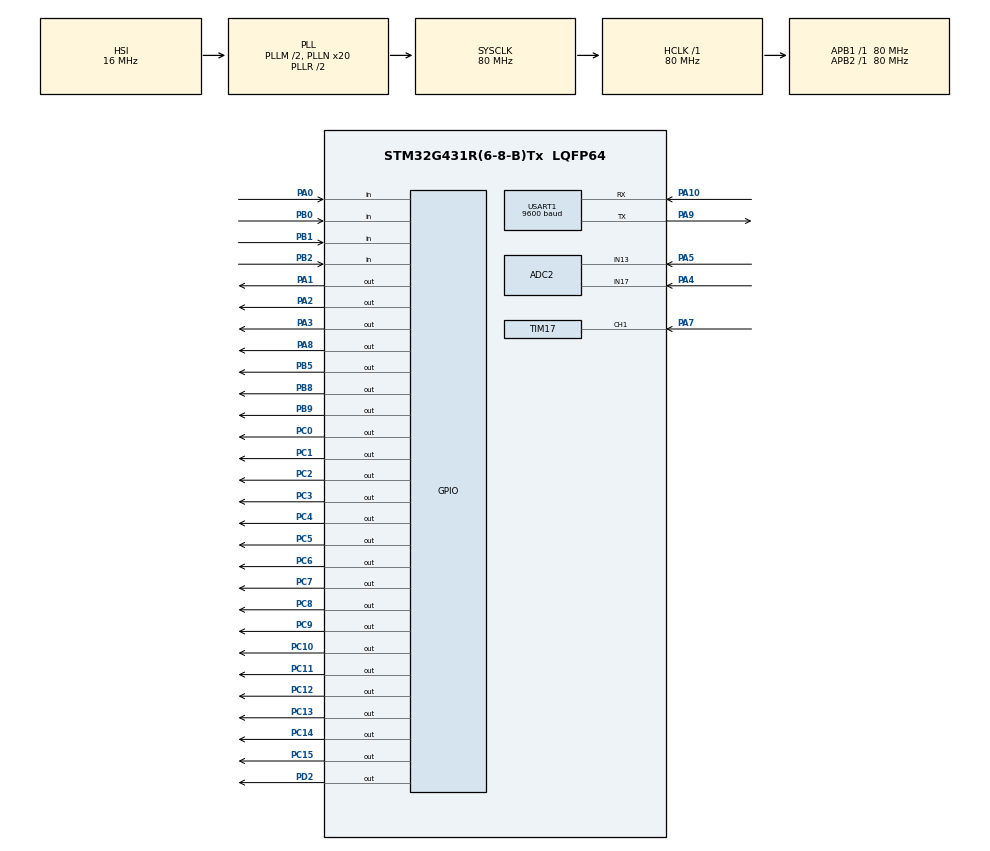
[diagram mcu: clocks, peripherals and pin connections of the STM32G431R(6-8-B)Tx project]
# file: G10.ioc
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ADC2.Channel-0\#ChannelRegularConversion=ADC_CHANNEL_17
ADC2.Channel-1\#ChannelRegularConversion=ADC_CHANNEL_13
ADC2.NbrOfConversion=2
ADC2.NbrOfConversionFlag=1
ADC2.OffsetNumber-0\#ChannelRegularConversion=ADC_OFFSET_NONE
ADC2.OffsetNumber-1\#ChannelRegularConversion=ADC_OFFSET_NONE
ADC2.Rank-0\#ChannelRegularConversion=1
ADC2.Rank-1\#ChannelRegularConversion=2
ADC2.SamplingTime-0\#ChannelRegularConversion=ADC_SAMPLETIME_640CYCLES_5
ADC2.SamplingTime-1\#ChannelRegularConversion=ADC_SAMPLETIME_640CYCLES_5
Mcu.Family=STM32G4
Mcu.Name=STM32G431R(6-8-B)Tx
Mcu.Package=LQFP64
NVIC.PriorityGroup=NVIC_PRIORITYGROUP_4
NVIC.TIM1_BRK_TIM15_IRQn=true\:0\:0\:false\:false\:true\:true\:true\:true
NVIC.TIM1_TRG_COM_TIM17_IRQn=true\:0\:0\:false\:false\:true\:true\:true\:true
NVIC.USART1_IRQn=true\:0\:0\:false\:false\:true\:true\:true\:true
PA0.Signal=GPIO_Input
PA1.Signal=GPIO_Output
PA10.Mode=Asynchronous
PA10.Signal=USART1_RX
PA2.Signal=GPIO_Output
PA3.Signal=GPIO_Output
PA4.Mode=IN17-Single-Ended
PA4.Signal=ADC2_IN17
PA5.Mode=IN13-Single-Ended
PA5.Signal=ADC2_IN13
PA7.Signal=S_TIM17_CH1
PA8.Signal=GPIO_Output
PA9.Mode=Asynchronous
PA9.Signal=USART1_TX
PB0.Signal=GPIO_Input
PB1.Signal=GPIO_Input
PB2.Signal=GPIO_Input
PB5.Signal=GPIO_Output
PB8-BOOT0.Signal=GPIO_Output
PB9.Signal=GPIO_Output
PC0.Signal=GPIO_Output
PC1.Signal=GPIO_Output
PC10.Signal=GPIO_Output
PC11.Signal=GPIO_Output
PC12.Signal=GPIO_Output
PC13.Signal=GPIO_Output
PC14-OSC32_IN.Signal=GPIO_Output
PC15-OSC32_OUT.Signal=GPIO_Output
PC2.Signal=GPIO_Output
PC3.Signal=GPIO_Output
PC4.Signal=GPIO_Output
PC5.Signal=GPIO_Output
PC6.Signal=GPIO_Output
PC7.Signal=GPIO_Output
PC8.Signal=GPIO_Output
PC9.Signal=GPIO_Output
PD2.Signal=GPIO_Output
PF0-OSC_IN.Mode=HSE-External-Oscillator
PF0-OSC_IN.Signal=RCC_OSC_IN
PF1-OSC_OUT.Mode=HSE-External-Oscillator
PF1-OSC_OUT.Signal=RCC_OSC_OUT
ProjectManager.HeapSize=0x200
ProjectManager.StackSize=0x400
ProjectManager.TargetToolchain=MDK-ARM V5
RCC.ADC12Freq_Value=80000000
RCC.AHBFreq_Value=80000000
RCC.APB1Freq_Value=80000000
RCC.APB1TimFreq_Value=80000000
RCC.APB2Freq_Value=80000000
RCC.APB2TimFreq_Value=80000000
RCC.CortexFreq_Value=80000000
RCC.EXTERNAL_CLOCK_VALUE=12288000
RCC.HCLKFreq_Value=80000000
RCC.HSE_VALUE=24000000
RCC.HSI48_VALUE=48000000
RCC.HSI_VALUE=16000000
RCC.LSE_VALUE=32768
RCC.PLLM=RCC_PLLM_DIV2
RCC.PLLN=20
RCC.SYSCLKFreq_VALUE=80000000
RCC.SYSCLKSource=RCC_SYSCLKSOURCE_PLLCLK
RCC.USBFreq_Value=80000000
RCC.VCOOutputFreq_Value=160000000
SH.S_TIM17_CH1.0=TIM17_CH1,Input_Capture1_from_TI1
TIM15.AutoReloadPreload=TIM_AUTORELOAD_PRELOAD_ENABLE
TIM15.PeriodNoDither=999
TIM15.Prescaler=7999
TIM17.Channel=TIM_CHANNEL_1
TIM17.PeriodNoDither=0xffff
TIM17.Prescaler=79
USART1.BaudRate=9600
USART1.VirtualMode-Asynchronous=VM_ASYNC
VP_SYS_VS_DBSignals.Mode=DisableDeadBatterySignals
VP_TIM15_VS_ClockSourceINT.Mode=Internal
VP_TIM17_VS_ClockSourceINT.Mode=Enable_Timer
board=custom

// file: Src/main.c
/* USER CODE BEGIN Header */
/**
  ******************************************************************************
  * @file           : main.c
  * @brief          : Main program body
  ******************************************************************************
  * @attention
  *
  * <h2><center>&copy; Copyright (c) 2021 STMicroelectronics.
  * All rights reserved.</center></h2>
  *
  * This software component is licensed by ST under BSD 3-Clause license,
  * the "License"; You may not use this file except in compliance with the
  * License. You may obtain a copy of the License at:
  *                        opensource.org/licenses/BSD-3-Clause
  *
  ******************************************************************************
  */
/* USER CODE END Header */

#include "main.h"
#include "adc.h"
#include "tim.h"
#include "usart.h"
#include "gpio.h"

/* USER CODE BEGIN Includes */
#include "led.h"
#include "key.h"
#include "stdio.h"
#include "string.h"
#include "seg.h"
#include "ds18b20_hal.h"

/* USER CODE END Includes */

void SystemClock_Config(void);

/* USER CODE BEGIN 0 */

#define Display_Main 0
#define Display_Para 1

u8 display_mode = 0;

//1

u16 N;//最大65535

//2

u8 T = 5;
u8 X = 1;// AO1

u8 T_temp = 5;
u8 X_temp = 1;
_Bool change = 0;

//LED
u8 led_ctrl = 0x00;

void Led_Proc(void)
{
	Led_Control(led_ctrl);//切记以后只操作led_ctrl即可
}

//KEY

uint32_t longTick3 = 0;
uint32_t longTick4 = 0;

uint32_t keyTick = 0;
void Key_Proc(void)
{
	if(uwTick - keyTick < 20) return;
	keyTick = uwTick;

	Key_Read();

	if(Trg & 0x01)
	{
		LCD_Clear(Black);
		display_mode = (display_mode + 1)%2;

		if(display_mode == Display_Main)
		{
			if(X == X_temp && T == T_temp)
			{

			}
			else
			{
				N++;
				X_temp = X;
				T_temp = T;
			}
		}

		if(display_mode == Display_Para)
		{
			X = X_temp;
			T = T_temp;
		}
	}

	if(Trg & 0x02)
	{
		if(display_mode == Display_Para)
		{
			change = !change;
		}
	}

	if(display_mode == Display_Para)
	{
		if(change == 0)
		{
			if(Trg & 0x04)
			{
				longTick3 = uwTick;
			}
			else if(Cont & 0x04 && uwTick - longTick3 > 1000)
			{
				T++;
				if(T >= 41)
					T = 40;

			}
			else if(Up & 0x04 && uwTick - longTick3 < 1000)
			{
				T++;
				if(T >= 41)
					T = 40;
			}
		}
		else
		{
			if(Trg & 0x04)
			{
				X = X%2 + 1;
			}
		}
	}

	if(display_mode == Display_Para)
	{
		if(change == 0)
		{
			if(Trg & 0x08)
			{
				longTick4 = uwTick;
			}
			else if(Cont & 0x08 && uwTick - longTick4 > 1000) //这里假设0-40,先判断
			{
				if(T > 0)
					T--;

			}
			else if(Up & 0x08 && uwTick - longTick4 < 1000)
			{
				if(T > 0)
					T--;
			}
		}
		else
		{
			if(Trg & 0x08)
			{
				X = X%2 + 1;
			}
		}
	}
}

//ADC---以后可以放在LCD函数里，每100ms读取一次

u32 adc_val1,adc_val2;
double AO1,AO2;

void ADC_Proc(void)
{
	HAL_ADC_Start(&hadc2);
	adc_val1 = HAL_ADC_GetValue(&hadc2);
	AO1 = adc_val1/4095.0*3.3;

	HAL_ADC_Start(&hadc2);
	adc_val2 = HAL_ADC_GetValue(&hadc2);
	AO2 = adc_val2/4095.0*3.3;
}

//PWM

uint32_t uwIC2Value1 = 0;
uint32_t uwIC2Value2 = 0;
uint32_t uwDiffCapture = 0;
uint32_t low,high;
/* Capture index */
uint16_t uhCaptureIndex = 0;

/* Frequency Value */
uint32_t uwFrequency = 0;
uint32_t F;
double D;

void HAL_TIM_IC_CaptureCallback(TIM_HandleTypeDef *htim)
{
	if(htim == &htim17)
	{
	 if (htim->Channel == HAL_TIM_ACTIVE_CHANNEL_1)
		{
			if(uhCaptureIndex == 0)
			{
				/* Get the 1st Input Capture value */
				uwIC2Value1 = HAL_TIM_ReadCapturedValue(htim, TIM_CHANNEL_1);
				__HAL_TIM_SET_CAPTUREPOLARITY(&htim17,TIM_CHANNEL_1,TIM_INPUTCHANNELPOLARITY_FALLING);
				uhCaptureIndex = 1;
			}
			else if(uhCaptureIndex == 1)
			{
				/* Get the 2nd Input Capture value */
				uwIC2Value2 = HAL_TIM_ReadCapturedValue(htim, TIM_CHANNEL_1);
				__HAL_TIM_SET_CAPTUREPOLARITY(&htim17,TIM_CHANNEL_1,TIM_INPUTCHANNELPOLARITY_RISING);
				/* Capture computation */
				if (uwIC2Value2 > uwIC2Value1)
				{
					high = (uwIC2Value2 - uwIC2Value1);
				}
				else if (uwIC2Value2 < uwIC2Value1)
				{
					/* 0xFFFF is max TIM1_CCRx value */
					high = ((0xFFFF - uwIC2Value1) + uwIC2Value2) + 1;
				}
				else
				{
					/* If capture values are equal, we have reached the limit of frequency
						 measures */
					Error_Handler();
				}

				/* Frequency computation: for this example TIMx (TIM1) is clocked by
					 APB2Clk */
			uhCaptureIndex = 2;
			uwIC2Value1 = uwIC2Value2;

			}
			else if(uhCaptureIndex == 2)
			{
				/* Get the 2nd Input Capture value */
				uwIC2Value2 = HAL_TIM_ReadCapturedValue(htim, TIM_CHANNEL_1);
				/* Capture computation */
				if (uwIC2Value2 > uwIC2Value1)
				{
					low = (uwIC2Value2 - uwIC2Value1);
				}
				else if (uwIC2Value2 < uwIC2Value1)
				{
					/* 0xFFFF is max TIM1_CCRx value */
					low = ((0xFFFF - uwIC2Value1) + uwIC2Value2) + 1;
				}
				else
				{
					/* If capture values are equal, we have reached the limit of frequency
						 measures */
					Error_Handler();
				}

				/* Frequency computation: for this example TIMx (TIM1) is clocked by
					 APB2Clk */
				uhCaptureIndex = 0;
				F = 1e6/(high + low);
				D = high*1.0/(high+low);

			}
		}
	}

}

//SEG--就这样定了，因为可以操控小数点和其他数
uint32_t segTick = 0;
_Bool seg_flag = 0;
u8 seg_cnt = 0;
void SEG_Proc(void)
{
	//交替显示
	if(uwTick - segTick < 100) return; //这里两秒刷新一次值太慢
	segTick = uwTick;

	if(seg_flag == 0)
	{
		seg_buf[0] = 0x39;  //0x00为熄灭
		seg_buf[1] = t_display[T/10];
		seg_buf[2] = t_display[T%10];
	}

	else
	{
		seg_buf[0] = 0x77;
		seg_buf[1] = 0x5C;
		seg_buf[2] = t_display[X];
	}

	if(++seg_cnt >= 20)
	{
		seg_flag = !seg_flag;
		seg_cnt = 0;
	}

	Display();

}

//DS18B20 -- 温度间隔500ms读取一次//以后这个就是温度专用函数，温度放在定时器里
//放在TIM15或systick里
double T_C;
void DS18B20_Proc(void)
{
	static u8 cnt_temp;
	if(++cnt_temp >= 5)
	{
		T_C = DS18B20_Read();
		cnt_temp = 0;
	}
}

//UART
//发

int fputc(int ch, FILE *f)
{
  /* Your implementation of fputc(). */
	HAL_UART_Transmit(&huart1,(u8 *)&ch,1,50);
  return ch;
}

//收
u8 uart_buf[2];
u8 rx_buf[100];
u8 rx_cnt = 0;

uint32_t uartTick = 0;

void Rx_Idle(void)
{
	if(uwTick - uartTick < 50) return;
	uartTick = uwTick;

	if(rx_cnt>0)
	{
		rx_cnt = 0;
		memset(rx_buf,'\0',sizeof(rx_buf));
	}
}

void HAL_UART_RxCpltCallback(UART_HandleTypeDef *huart)
{
	uartTick = uwTick;
  HAL_UART_Receive_IT(&huart1,uart_buf,1);

	rx_buf[rx_cnt++] = uart_buf[0];

	if(uart_buf[0] == '\n')
	{
		printf("%s",rx_buf);
	}
}

//LCD
uint32_t lcdTick = 0;

void LCD_Proc(void)
{
	if(uwTick - lcdTick < 100)return;
	lcdTick = uwTick;

	ADC_Proc();

	u8 display_buf[30];

	if(display_mode == Display_Main)
	{
		sprintf((char *)display_buf,"       Main ");
		LCD_DisplayStringLine(Line1,display_buf);

		sprintf((char *)display_buf,"   A01:%4.2fV",AO1);
		LCD_DisplayStringLine(Line2,display_buf);

		sprintf((char *)display_buf,"   AO2:%4.2fV",AO2);
		LCD_DisplayStringLine(Line3,display_buf);

		sprintf((char *)display_buf,"   PWM2:%2.0f%%  ",D*100);
		LCD_DisplayStringLine(Line4,display_buf);

		sprintf((char *)display_buf,"   Temp:%5.2fC",T_C);
		LCD_DisplayStringLine(Line5,display_buf);

		sprintf((char *)display_buf,"   N:%d",N);
		LCD_DisplayStringLine(Line6,display_buf);

	}

	if(display_mode == Display_Para)
	{
		sprintf((char *)display_buf,"       Para ");
		LCD_DisplayStringLine(Line1,display_buf);

		sprintf((char *)display_buf,"   T:%-2d               ",T);
		if(change == 0)
			LCD_SetBackColor(Green);
		LCD_DisplayStringLine(Line2,display_buf);
	  LCD_SetBackColor(Black);

		if(change == 1)
			LCD_SetBackColor(Green);
		sprintf((char *)display_buf,"   X:AO%d               ",X);
		LCD_DisplayStringLine(Line3,display_buf);
	 	LCD_SetBackColor(Black);

	}

}

//void SysTick_Handler(void)
//{
//  /* USER CODE BEGIN SysTick_IRQn 0 */

//  /* USER CODE END SysTick_IRQn 0 */
//  HAL_IncTick();
//  /* USER CODE BEGIN SysTick_IRQn 1 */

//	//DS18B20_Proc();
//  /* USER CODE END SysTick_IRQn 1 */
//}

//TIM15
//uint32_t cnt;
void HAL_TIM_PeriodElapsedCallback(TIM_HandleTypeDef *htim)
{
	if(htim == &htim15)
	{
//		if(++cnt >= 2)
//		{
//			cnt = 0;
//			led_ctrl^=0x01;
//		}
		DS18B20_Proc();
	}
}

/* USER CODE END 0 */

int main(void)
{

  /* MCU Configuration--------------------------------------------------------*/

  /* Reset of all peripherals, Initializes the Flash interface and the Systick. */
  HAL_Init();

  /* Configure the system clock */
  SystemClock_Config();

  /* Initialize all configured peripherals */
  MX_GPIO_Init();
  MX_ADC2_Init();
  MX_TIM17_Init();
  MX_USART1_UART_Init();
  MX_TIM15_Init();
  /* USER CODE BEGIN 2 */

    LCD_Init();

		//capture
		HAL_TIM_IC_Start_IT(&htim17,TIM_CHANNEL_1);

		//DS18B20
		ds18b20_init_x();
		while(DS18B20_Read() >= 85) {};

		//TIM15
		HAL_TIM_Base_Start_IT(&htim15);

		//UART
			HAL_UART_Receive_IT(&huart1,uart_buf,1);

  /* USER CODE END 2 */

  /* Infinite loop */
  /* USER CODE BEGIN WHILE */

    LCD_Clear(Black);
    LCD_SetBackColor(Black);
    LCD_SetTextColor(White);

//    LCD_DrawLine(120, 0, 320, Horizontal);
//    LCD_DrawLine(0, 160, 240, Vertical);
//    HAL_Delay(1000);
//    LCD_Clear(Blue);

//    LCD_DrawRect(70, 210, 100, 100);
//    HAL_Delay(1000);
//    LCD_Clear(Blue);

//    LCD_DrawCircle(120, 160, 50);
//    HAL_Delay(1000);

//    LCD_Clear(Blue);
//    LCD_DisplayStringLine(Line4, (unsigned char *)"    Hello,world.   ");
//    HAL_Delay(1000);

//    LCD_SetBackColor(White);
//    LCD_DisplayStringLine(Line0, (unsigned char *)"                    ");
//    LCD_SetBackColor(Black);
//    LCD_DisplayStringLine(Line1, (unsigned char *)"                    ");
//    LCD_SetBackColor(Grey);
//    LCD_DisplayStringLine(Line2, (unsigned char *)"                    ");
//    LCD_SetBackColor(Blue);
//    LCD_DisplayStringLine(Line3, (unsigned char *)"                    ");
//    LCD_SetBackColor(Blue2);
//    LCD_DisplayStringLine(Line4, (unsigned char *)"                    ");
//    LCD_SetBackColor(Red);
//    LCD_DisplayStringLine(Line5, (unsigned char *)"                    ");
//    LCD_SetBackColor(Magenta);
//    LCD_DisplayStringLine(Line6, (unsigned char *)"                    ");
//    LCD_SetBackColor(Green);
//    LCD_DisplayStringLine(Line7, (unsigned char *)"                    ");
//    LCD_SetBackColor(Cyan);
//    LCD_DisplayStringLine(Line8, (unsigned char *)"                    ");
//    LCD_SetBackColor(Yellow);
//    LCD_DisplayStringLine(Line9, (unsigned char *)"                    ");

		Led_Control(0x00);
		printf("哈喽\r\n");
    while (1)
    {
    /* USER CODE END WHILE */

    /* USER CODE BEGIN 3 */
			Key_Proc();
			LCD_Proc();
			SEG_Proc();
			Led_Proc();
			Rx_Idle();

    }
  /* USER CODE END 3 */
}

void SystemClock_Config(void)
{
  RCC_OscInitTypeDef RCC_OscInitStruct = {0};
  RCC_ClkInitTypeDef RCC_ClkInitStruct = {0};
  RCC_PeriphCLKInitTypeDef PeriphClkInit = {0};

  /** Configure the main internal regulator output voltage
  */
  HAL_PWREx_ControlVoltageScaling(PWR_REGULATOR_VOLTAGE_SCALE1);
  /** Initializes the CPU, AHB and APB busses clocks
  */
  RCC_OscInitStruct.OscillatorType = RCC_OSCILLATORTYPE_HSI;
  RCC_OscInitStruct.HSIState = RCC_HSI_ON;
  RCC_OscInitStruct.HSICalibrationValue = RCC_HSICALIBRATION_DEFAULT;
  RCC_OscInitStruct.PLL.PLLState = RCC_PLL_ON;
  RCC_OscInitStruct.PLL.PLLSource = RCC_PLLSOURCE_HSI;
  RCC_OscInitStruct.PLL.PLLM = RCC_PLLM_DIV2;
  RCC_OscInitStruct.PLL.PLLN = 20;
  RCC_OscInitStruct.PLL.PLLP = RCC_PLLP_DIV2;
  RCC_OscInitStruct.PLL.PLLQ = RCC_PLLQ_DIV2;
  RCC_OscInitStruct.PLL.PLLR = RCC_PLLR_DIV2;
  if (HAL_RCC_OscConfig(&RCC_OscInitStruct) != HAL_OK)
  {
    Error_Handler();
  }
  /** Initializes the CPU, AHB and APB busses clocks
  */
  RCC_ClkInitStruct.ClockType = RCC_CLOCKTYPE_HCLK|RCC_CLOCKTYPE_SYSCLK
                              |RCC_CLOCKTYPE_PCLK1|RCC_CLOCKTYPE_PCLK2;
  RCC_ClkInitStruct.SYSCLKSource = RCC_SYSCLKSOURCE_PLLCLK;
  RCC_ClkInitStruct.AHBCLKDivider = RCC_SYSCLK_DIV1;
  RCC_ClkInitStruct.APB1CLKDivider = RCC_HCLK_DIV1;
  RCC_ClkInitStruct.APB2CLKDivider = RCC_HCLK_DIV1;

  if (HAL_RCC_ClockConfig(&RCC_ClkInitStruct, FLASH_LATENCY_3) != HAL_OK)
  {
    Error_Handler();
  }
  /** Initializes the peripherals clocks
  */
  PeriphClkInit.PeriphClockSelection = RCC_PERIPHCLK_USART1|RCC_PERIPHCLK_ADC12;
  PeriphClkInit.Usart1ClockSelection = RCC_USART1CLKSOURCE_PCLK2;
  PeriphClkInit.Adc12ClockSelection = RCC_ADC12CLKSOURCE_SYSCLK;
  if (HAL_RCCEx_PeriphCLKConfig(&PeriphClkInit) != HAL_OK)
  {
    Error_Handler();
  }
}

void Error_Handler(void)
{
}

/************************ (C) COPYRIGHT STMicroelectronics *****END OF FILE****/
